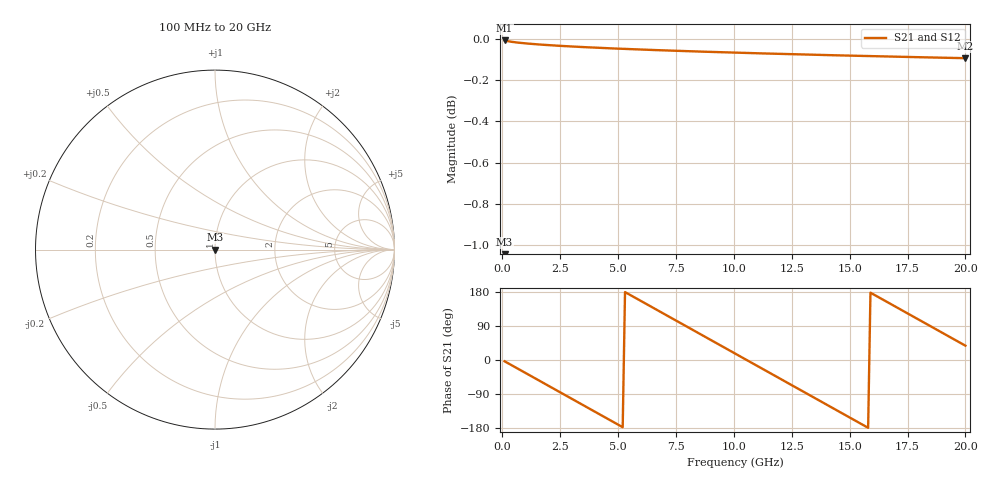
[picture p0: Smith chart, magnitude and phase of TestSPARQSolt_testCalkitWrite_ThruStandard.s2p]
# MHz MA S R 50.0
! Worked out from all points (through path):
!   200 points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, 100 MHz to 20 GHz, reference 50 ohm
!   highest |S21| = -0.01 dB at 100 MHz (marker M1); lowest = -0.1 dB at 20 GHz (marker M2)
!   group delay of S21, straight-line fit = 94.7 ps
!   lowest |S11| = - dB at 100 MHz (marker M3), VSWR 1.00, Z = 50 + j0 ohm
!   |S11| at or under -10 dB: start of sweep to end of sweep
!   |S22| runs from - to - dB; largest |S21 - S12| = 0
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100  0 0.0  0.9992 -3.4  0.9992 -3.4  0 0.0
900  0 0.0  0.9977 -30.7  0.9977 -30.7  0 0.0
1900  0 0.0  0.9967 -64.8  0.9967 -64.8  0 0.0
2700  0 0.0  0.9961 -92.1  0.9961 -92.1  0 0.0
3500  0 0.0  0.9955 -119.4  0.9955 -119.4  0 0.0
4400  0 0.0  0.995 -150.1  0.995 -150.1  0 0.0
5200  0 0.0  0.9946 -177.4  0.9946 -177.4  0 0.0
6000  0 0.0  0.9942 155.3  0.9942 155.3  0 0.0
6800  0 0.0  0.9938 128.1  0.9938 128.1  0 0.0
7600  0 0.0  0.9934 100.8  0.9934 100.8  0 0.0
8400  0 0.0  0.9931 73.5  0.9931 73.5  0 0.0
10100  0 0.0  0.9924 15.5  0.9924 15.5  0 0.0
11500  0 0.0  0.9919 -32.3  0.9919 -32.3  0 0.0
12500  0 0.0  0.9916 -66.4  0.9916 -66.4  0 0.0
13400  0 0.0  0.9913 -97.1  0.9913 -97.1  0 0.0
14200  0 0.0  0.991 -124.4  0.991 -124.4  0 0.0
15200  0 0.0  0.9907 -158.5  0.9907 -158.5  0 0.0
16700  0 0.0  0.9903 150.4  0.9903 150.4  0 0.0
17600  0 0.0  0.99 119.7  0.99 119.7  0 0.0
18400  0 0.0  0.9898 92.4  0.9898 92.4  0 0.0
19200  0 0.0  0.9896 65.1  0.9896 65.1  0 0.0
20000  0 0.0  0.9894 37.8  0.9894 37.8  0 0.0
